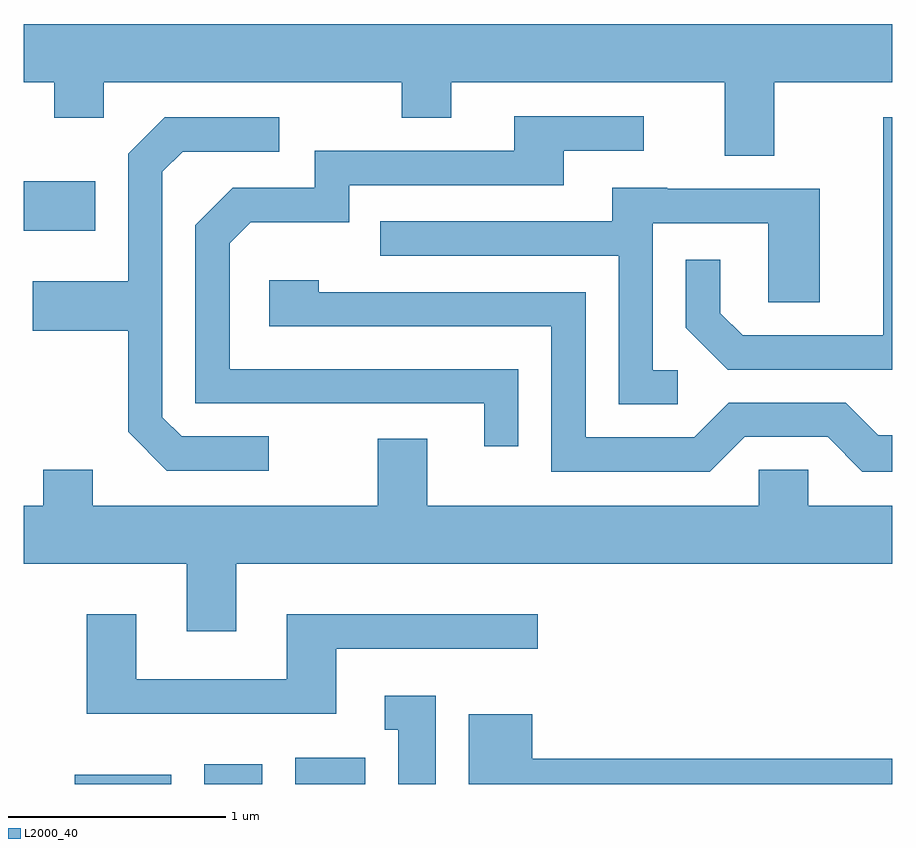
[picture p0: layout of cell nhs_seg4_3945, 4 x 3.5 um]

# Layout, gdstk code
import gdstk
lib = gdstk.Library(unit=1e-6, precision=1e-09)
def R(c, l, rs):  # rectangles x0, y0, x1, y1
    for r in rs: c.add(gdstk.rectangle(r[:2], r[2:], *l))
def P(c, l, *ps):  # polygons
    for p in ps: c.add(gdstk.Polygon(p, *l))
L2000_40 = (2000, 40)

nhs_seg4_3945 = lib.new_cell('nhs_seg4_3945')
R(nhs_seg4_3945, L2000_40, [(301.846,1255.982,302.289,1256.024), (302.441,1255.982,302.709,1256.074), (302.861,1255.982,303.184,1256.104), (301.611,1258.531,301.939,1258.759)])
P(nhs_seg4_3945, L2000_40, [(305.069,1259.216),(305.611,1259.216),(305.611,1259.484),(301.611,1259.484),(301.611,1259.216),(301.751,1259.216),(301.751,1259.051),(301.979,1259.051),(301.979,1259.216),(303.351,1259.216),(303.351,1259.051),(303.579,1259.051),(303.579,1259.216),(304.841,1259.216),(304.841,1258.876),(305.069,1258.876)],
  [(303.889,1257.894),(302.559,1257.894),(302.559,1258.474),(302.657,1258.571),(303.109,1258.571),(303.109,1258.741),(304.099,1258.741),(304.099,1258.901),(304.468,1258.901),(304.468,1259.059),(303.871,1259.059),(303.871,1258.899),(302.951,1258.899),(302.951,1258.729),(302.574,1258.729),(302.401,1258.557),(302.401,1257.736),(303.731,1257.736),(303.731,1257.538),(303.889,1257.538)],
  [(305.611,1259.054),(305.571,1259.054),(305.571,1258.049),(304.922,1258.049),(304.819,1258.152),(304.819,1258.398),(304.661,1258.398),(304.661,1258.084),(304.854,1257.891),(305.611,1257.891)],
  [(302.738,1257.584),(302.337,1257.584),(302.249,1257.672),(302.249,1258.804),(302.342,1258.896),(302.788,1258.896),(302.788,1259.054),(302.259,1259.054),(302.091,1258.887),(302.091,1258.299),(301.651,1258.299),(301.651,1258.071),(302.091,1258.071),(302.091,1257.604),(302.269,1257.426),(302.738,1257.426)],
  [(304.623,1257.889),(304.509,1257.889),(304.509,1258.566),(305.041,1258.566),(305.041,1258.201),(305.279,1258.201),(305.279,1258.724),(304.575,1258.724),(304.575,1258.729),(304.321,1258.729),(304.321,1258.574),(303.253,1258.574),(303.253,1258.416),(304.351,1258.416),(304.351,1257.731),(304.623,1257.731)],
  [(304.932,1257.581),(305.314,1257.581),(305.474,1257.421),(305.611,1257.421),(305.611,1257.589),(305.547,1257.589),(305.397,1257.739),(304.859,1257.739),(304.699,1257.579),(304.199,1257.579),(304.199,1258.249),(302.969,1258.249),(302.969,1258.304),(302.741,1258.304),(302.741,1258.091),(304.041,1258.091),(304.041,1257.421),(304.772,1257.421)],
  [(302.589,1256.996),(305.611,1256.996),(305.611,1257.264),(305.224,1257.264),(305.224,1257.429),(304.996,1257.429),(304.996,1257.264),(303.469,1257.264),(303.469,1257.574),(303.241,1257.574),(303.241,1257.264),(301.929,1257.264),(301.929,1257.429),(301.701,1257.429),(301.701,1257.264),(301.611,1257.264),(301.611,1256.996),(302.361,1256.996),(302.361,1256.686),(302.589,1256.686)],
  [(303.049,1256.606),(303.978,1256.606),(303.978,1256.764),(302.821,1256.764),(302.821,1256.464),(302.129,1256.464),(302.129,1256.764),(301.901,1256.764),(301.901,1256.306),(303.049,1256.306)],
  [(303.509,1256.389),(303.273,1256.389),(303.273,1256.231),(303.336,1256.231),(303.336,1255.982),(303.509,1255.982)],
  [(305.611,1256.099),(303.954,1256.099),(303.954,1256.304),(303.661,1256.304),(303.661,1255.982),(305.611,1255.982)])

lib.write_gds('nhs_seg4_3945.gds')
